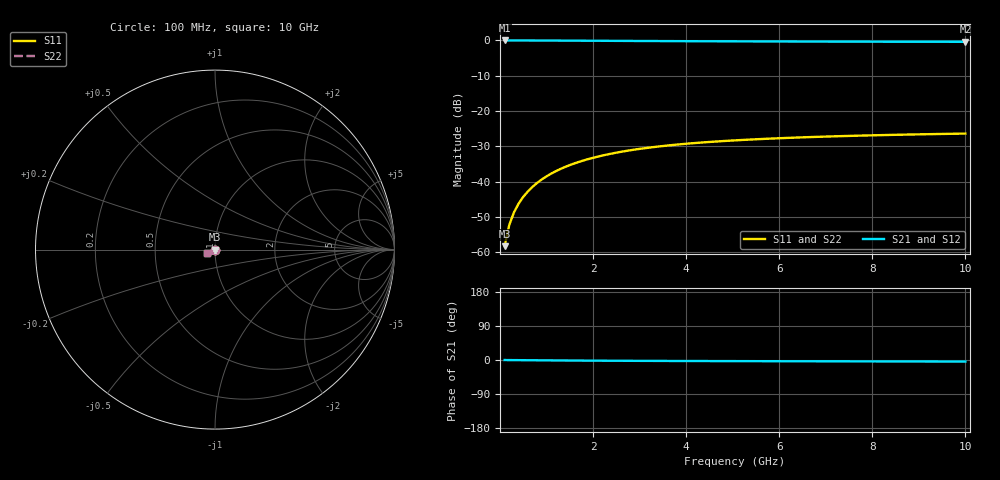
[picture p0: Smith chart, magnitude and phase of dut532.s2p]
! Touchstone file exported from HFSS 2024.1.0
!  File:  C:/UserFiles/LocalFiles/RDL_TSV_Batchsim/temp_TSV1_532_1779704555.aedt
!  Generated:  06:29:00 PM May 25, 2026
!  Design:  TSV1
!  Project:  temp_TSV1_532_1779704555
!  Setup:  Setup1
!  Solution:  Sweep
! Variables:
!  dtsv = 12.16um
!  hbump = 3um
!  htsv = 62.21um
!  lrdl = 252.1521522um
!  p = 40
!  p1 = 40.53um
!  t = 500um
!  trdl = 3um
!  wrdl = 24.89489489um
# GHz S MA R 50.000000
! Terminal data exported
! Port[1] = TSV22_T1
! Port[2] = TSV22_T2
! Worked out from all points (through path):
!   100 points, 100 MHz to 10 GHz, reference 50 ohm
!   highest |S21| = 0.00 dB at 100 MHz (marker M1); lowest = -0.4 dB at 10 GHz (marker M2)
!   lowest |S11| = -58.3 dB at 100 MHz (marker M3), VSWR 1.00, Z = 50 - j0.121 ohm
!   |S11| at or under -10 dB: start of sweep to end of sweep
!   |S22| runs from -58.3 to -26.4 dB; largest |S21 - S12| = 1.1e-15
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0.1  0.001215 -87.3  0.9999 -0.1  0.9999 -0.1  0.001215 -87.3
! Gamma 0 0 0 0
! Port Impedance 50 0 50 0
0.2  0.002432 -90.5  0.9998 -0.2  0.9998 -0.2  0.002432 -90.5
0.3  0.003651 -92.6  0.9996 -0.3  0.9996 -0.3  0.003651 -92.6
0.4  0.004864 -94.4  0.9994 -0.4  0.9994 -0.4  0.004864 -94.4
0.5  0.006068 -96.0  0.9991 -0.5  0.9991 -0.5  0.006068 -96.0
0.6  0.00726 -97.6  0.9988 -0.6  0.9988 -0.6  0.00726 -97.6
0.7  0.008436 -99.1  0.9984 -0.7  0.9984 -0.7  0.008436 -99.1
0.8  0.009596 -100.6  0.998 -0.8  0.998 -0.8  0.009596 -100.6
0.9  0.01074 -102.0  0.9975 -0.9  0.9975 -0.9  0.01074 -102.0
1.1  0.01296 -104.8  0.9964 -1.1  0.9964 -1.1  0.01296 -104.8
1.4  0.01611 -108.7  0.9945 -1.3  0.9945 -1.3  0.01611 -108.7
1.6  0.01809 -111.2  0.9931 -1.5  0.9931 -1.5  0.01809 -111.2
1.8  0.01996 -113.6  0.9917 -1.6  0.9917 -1.6  0.01996 -113.6
2.1  0.02257 -116.9  0.9895 -1.8  0.9895 -1.8  0.02257 -116.9
2.5  0.02569 -121.0  0.9866 -2.0  0.9866 -2.0  0.02569 -121.0
2.9  0.02843 -124.6  0.9837 -2.2  0.9837 -2.2  0.02843 -124.6
3.4  0.03138 -128.7  0.9803 -2.4  0.9803 -2.4  0.03138 -128.7
4.2  0.03521 -134.1  0.9755 -2.7  0.9755 -2.7  0.03521 -134.1
5.1  0.03854 -139.0  0.9709 -3.0  0.9709 -3.0  0.03854 -139.0
6.7  0.04279 -145.6  0.9646 -3.4  0.9646 -3.4  0.04279 -145.6
8.4  0.04585 -150.7  0.9599 -3.8  0.9599 -3.8  0.04585 -150.7
10  0.04789 -154.4  0.9567 -4.2  0.9567 -4.2  0.04789 -154.4
